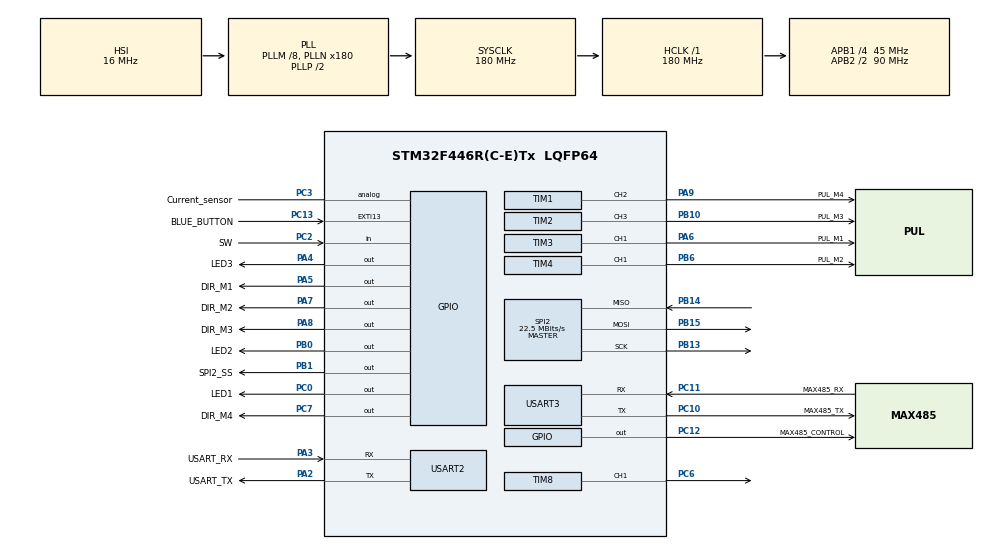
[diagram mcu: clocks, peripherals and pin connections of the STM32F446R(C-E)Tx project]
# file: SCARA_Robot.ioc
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Mcu.Family=STM32F4
Mcu.Name=STM32F446R(C-E)Tx
Mcu.Package=LQFP64
NVIC.PriorityGroup=NVIC_PRIORITYGROUP_0
NVIC.TIM8_TRG_COM_TIM14_IRQn=true\:0\:0\:false\:false\:true\:true\:true
NVIC.USART2_IRQn=true\:0\:0\:false\:false\:true\:true\:true
PA13.GPIO_Label=TMS
PA13.Mode=Serial_Wire
PA13.Signal=SYS_JTMS-SWDIO
PA14.GPIO_Label=TCK
PA14.Mode=Serial_Wire
PA14.Signal=SYS_JTCK-SWCLK
PA2.GPIO_Label=USART_TX
PA2.Mode=Asynchronous
PA2.Signal=USART2_TX
PA3.GPIO_Label=USART_RX
PA3.Mode=Asynchronous
PA3.Signal=USART2_RX
PA4.GPIO_Label=LED3
PA4.Signal=GPIO_Output
PA5.GPIO_Label=DIR_M1
PA5.Signal=GPIO_Output
PA6.GPIO_Label=PUL_M1
PA6.Signal=S_TIM3_CH1
PA7.GPIO_Label=DIR_M2
PA7.Signal=GPIO_Output
PA8.GPIO_Label=DIR_M3
PA8.Signal=GPIO_Output
PA9.GPIO_Label=PUL_M4
PA9.Signal=S_TIM1_CH2
PB0.GPIO_Label=LED2
PB0.Signal=GPIO_Output
PB1.GPIO_Label=SPI2_SS
PB1.Signal=GPIO_Output
PB10.GPIO_Label=PUL_M3
PB10.Signal=S_TIM2_CH3
PB13.Mode=Full_Duplex_Master
PB13.Signal=SPI2_SCK
PB14.Mode=Full_Duplex_Master
PB14.Signal=SPI2_MISO
PB15.Mode=Full_Duplex_Master
PB15.Signal=SPI2_MOSI
PB6.GPIO_Label=PUL_M2
PB6.Signal=S_TIM4_CH1
PC0.GPIO_Label=LED1
PC0.Signal=GPIO_Output
PC10.GPIO_Label=MAX485_TX
PC10.Mode=Asynchronous
PC10.Signal=USART3_TX
PC11.GPIO_Label=MAX485_RX
PC11.Mode=Asynchronous
PC11.Signal=USART3_RX
PC12.GPIO_Label=MAX485_CONTROL
PC12.Signal=GPIO_Output
PC13.GPIO_Label=BLUE_BUTTON
PC13.GPIO_ModeDefaultEXTI=GPIO_MODE_IT_FALLING
PC13.Signal=GPXTI13
PC14-OSC32_IN.Mode=LSE-External-Oscillator
PC14-OSC32_IN.Signal=RCC_OSC32_IN
PC15-OSC32_OUT.Mode=LSE-External-Oscillator
PC15-OSC32_OUT.Signal=RCC_OSC32_OUT
PC2.GPIO_Label=SW
PC2.Signal=GPIO_Input
PC3.GPIO_Label=Current_sensor
PC3.Signal=GPIO_Analog
PC6.Signal=S_TIM8_CH1
PC7.GPIO_Label=DIR_M4
PC7.Signal=GPIO_Output
PH0-OSC_IN.Mode=HSE-External-Oscillator
PH0-OSC_IN.Signal=RCC_OSC_IN
PH1-OSC_OUT.Mode=HSE-External-Oscillator
PH1-OSC_OUT.Signal=RCC_OSC_OUT
ProjectManager.HeapSize=0x200
ProjectManager.StackSize=0x400
ProjectManager.TargetToolchain=STM32CubeIDE
RCC.48MHZClocksFreq_Value=84000000
RCC.AHBFreq_Value=180000000
RCC.APB1CLKDivider=RCC_HCLK_DIV4
RCC.APB1Freq_Value=45000000
RCC.APB1TimFreq_Value=90000000
RCC.APB2CLKDivider=RCC_HCLK_DIV2
RCC.APB2Freq_Value=90000000
RCC.APB2TimFreq_Value=180000000
RCC.CortexFreq_Value=180000000
RCC.FLatency-AdvancedSettings=FLASH_LATENCY_5
RCC.HCLKFreq_Value=180000000
RCC.HSE_VALUE=8000000
RCC.HSI_VALUE=16000000
RCC.PLLM=8
RCC.PLLN=180
RCC.SYSCLKFreq_VALUE=180000000
RCC.SYSCLKSource=RCC_SYSCLKSOURCE_PLLCLK
RCC.USBFreq_Value=180000000
RCC.VCOOutputFreq_Value=360000000
SH.S_TIM1_CH2.0=TIM1_CH2,PWM Generation2 CH2
SH.S_TIM2_CH3.0=TIM2_CH3,PWM Generation3 CH3
SH.S_TIM3_CH1.0=TIM3_CH1,PWM Generation1 CH1
SH.S_TIM4_CH1.0=TIM4_CH1,PWM Generation1 CH1
SH.S_TIM8_CH1.0=TIM8_CH1,PWM Generation1 CH1
SPI2.CalculateBaudRate=22.5 MBits/s
SPI2.Direction=SPI_DIRECTION_2LINES
SPI2.Mode=SPI_MODE_MASTER
SPI2.VirtualType=VM_MASTER
TIM1.AutoReloadPreload=TIM_AUTORELOAD_PRELOAD_ENABLE
TIM1.Channel-PWM\ Generation2\ CH2=TIM_CHANNEL_2
TIM1.Period=100-1
TIM1.Prescaler=2999
TIM1.Pulse-PWM\ Generation2\ CH2=50
TIM14.Period=10000-1
TIM14.Prescaler=180-1
TIM2.AutoReloadPreload=TIM_AUTORELOAD_PRELOAD_ENABLE
TIM2.Channel-PWM\ Generation3\ CH3=TIM_CHANNEL_3
TIM2.Period=119
TIM2.Prescaler=1499
TIM2.Pulse-PWM\ Generation3\ CH3=60
TIM3.AutoReloadPreload=TIM_AUTORELOAD_PRELOAD_ENABLE
TIM3.Channel-PWM\ Generation1\ CH1=TIM_CHANNEL_1
TIM3.Period=100-1
TIM3.Prescaler=1499
TIM3.Pulse-PWM\ Generation1\ CH1=50
TIM4.AutoReloadPreload=TIM_AUTORELOAD_PRELOAD_ENABLE
TIM4.Channel-PWM\ Generation1\ CH1=TIM_CHANNEL_1
TIM4.Period=100-1
TIM4.Prescaler=1499
TIM4.Pulse-PWM\ Generation1\ CH1=50
TIM8.Channel-PWM\ Generation1\ CH1=TIM_CHANNEL_1
TIM8.Period=100-1
TIM8.Prescaler=18000-1
TIM8.Pulse-PWM\ Generation1\ CH1=50
USART2.VirtualMode=VM_ASYNC
USART3.VirtualMode=VM_ASYNC
VP_TIM14_VS_ClockSourceINT.Mode=Enable_Timer
VP_TIM1_VS_ClockSourceINT.Mode=Internal
VP_TIM2_VS_ClockSourceINT.Mode=Internal
VP_TIM3_VS_ClockSourceINT.Mode=Internal
VP_TIM4_VS_ClockSourceINT.Mode=Internal
board=NUCLEO-F446RE

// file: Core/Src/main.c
/* USER CODE BEGIN Header */
/**
  ******************************************************************************
  * @file           : main.c
  * @brief          : Main program body
  ******************************************************************************
  * @attention
  *
  * <h2><center>&copy; Copyright (c) 2021 STMicroelectronics.
  * All rights reserved.</center></h2>
  *
  * This software component is licensed by ST under BSD 3-Clause license,
  * the "License"; You may not use this file except in compliance with the
  * License. You may obtain a copy of the License at:
  *                        opensource.org/licenses/BSD-3-Clause
  *
  ******************************************************************************
  */
/* USER CODE END Header */
#include "main.h"

/* USER CODE BEGIN Includes */
#include <stdio.h>
/* USER CODE END Includes */

SPI_HandleTypeDef hspi2;

TIM_HandleTypeDef htim1;
TIM_HandleTypeDef htim2;
TIM_HandleTypeDef htim3;
TIM_HandleTypeDef htim4;
TIM_HandleTypeDef htim8;
TIM_HandleTypeDef htim14;

UART_HandleTypeDef huart2;
UART_HandleTypeDef huart3;

void SystemClock_Config(void);
static void MX_GPIO_Init(void);
static void MX_USART2_UART_Init(void);
static void MX_TIM1_Init(void);
static void MX_TIM2_Init(void);
static void MX_TIM3_Init(void);
static void MX_TIM4_Init(void);
static void MX_SPI2_Init(void);
static void MX_USART3_UART_Init(void);
static void MX_TIM8_Init(void);
static void MX_TIM14_Init(void);
/* USER CODE BEGIN PFP */
long map(long x, long fromLow, long fromHigh, long toLow, long toHigh);
void Motor1_On(char Direction, char speed);
void Motor2_On(char Direction, char speed);
void Motor3_On(char Direction, char speed);
void Motor4_On(char Direction, char speed);
void Motor1_Off();
void Motor2_Off();
void Motor3_Off();
void Motor4_Off();
void Motor1_SetPWM(uint16_t speed);
void Motor2_SetPWM(uint16_t speed);
void Motor3_SetPWM(uint16_t speed);
void Motor4_SetPWM(uint16_t speed);
//serial protocol function
void CheckSum(uint8_t sum);
void clear_buffer(void);
void package_state(void);

void test_aon() {
	if (HAL_GPIO_ReadPin(BLUE_BUTTON_GPIO_Port, BLUE_BUTTON_Pin) == 0) {
		Motor2_On(1, 90);
	}
	else {
		Motor2_Off();
	}
}

/* USER CODE END PFP */

/* USER CODE BEGIN 0 */
//serial gobol variable
uint8_t TX_Buffer[] = {0xFF};//"Hello World!\r\n";
uint8_t RX_Buffer[7]= {0};
uint8_t package[7];
uint8_t state;
uint8_t state_check;
uint8_t checksum[2];
uint8_t acknowledge[5] = {0xFF, 0x01, 0x01, 0x66, 0x65};

void HAL_UART_RxCpltCallback(UART_HandleTypeDef *huart)
{
//	HAL_UART_Receive(&huart2, RX_Buffer, 7,100);
	memcpy(package,RX_Buffer,7);
//	for (int i = 0; i<sizeof (package); i++) {
//		package[i] = RX_Buffer[i];
//		//printf("package[%d] : %d\n", i, package[i]);
//	}
	package_state();
//	for (int i = 0; i<sizeof (RX_Buffer); i++) {
//		RX_Buffer[i] = 0;
//	}
	HAL_UART_Receive_IT(&huart2, RX_Buffer, 7);
}
void HAL_TIM_PeriodElapsedCallback(TIM_HandleTypeDef *htim)
{
  // Check which version of the timer triggered this callback and toggle LED
  if (htim == &htim14 )
  {
	  //state_check > 1
	  	      if (state_check == 1) {
	  	      	switch (package[4]) {
	  	      		case 0x72 :{
	  	      			Motor1_SetPWM(50);
	  	      			Motor1_On(1, 30);
	  	      			break;
	  	      		}
	  	      		case 0x66 :{
	  	      			Motor1_SetPWM(50);
	  	      			Motor1_On(0, 30);
	  	  				break;
	  	  			}
	  	      		case 0x74 :{
	  	      			Motor2_SetPWM(500);
	  	      			Motor2_On(1, 150);
	  	  				break;
	  	  			}
	  	      		case 0x67 :{
	  	      			Motor2_SetPWM(500);
	  	      			Motor2_On(0, 100);
	  	  				break;
	  	  			}
	  	      		case 0x79 :{
	  	      			Motor3_SetPWM(100);
	  	      			Motor3_On(1, 50);
	  	  				break;
	  	  			}
	  	      		case 0x41 :{
	  	      			Motor3_SetPWM(100);
	  	      			Motor3_On(0, 50);
	  	  				break;
	  	  			}
	  	  			case 0x75 :{
	  	  				Motor4_SetPWM(200);
	  	  				Motor4_On(1, 50);
	  	  				break;
	  	  			}
	  	  			case 0x6a :{
	  	  				Motor4_SetPWM(200);
	  	  				Motor4_On(0, 50);
	  	  				break;
	  	  			}
	  	  			case 0x7a :{
	  	  				Motor1_Off();
						Motor2_Off();
						Motor3_Off();
						Motor4_Off();
						break;
	  	  			}
	  	  			default:{
	  	  				//err();
//	  	  				clear_buffer();
	  	  				Motor1_Off();
	  	  				Motor2_Off();
	  	  				Motor3_Off();
	  	  				Motor4_Off();
	  	  			}
	  	      	}
//	  	      	clear_buffer();
	  //	      	Motor1_Off();
	  //	      	Motor2_Off();
	  //	      	Motor3_Off();
	  //	      	Motor4_Off();
	  	  //    } else if (state_check == 2) { case
	  	  //
	  	  //    } else if (state_check == 3) { case
	  	  //
	  	      }
	  	      state_check = 0;
//	  	    	for (int i = 0; i<sizeof (RX_Buffer); i++) {
//	  	    		RX_Buffer[i] = 0;
//	  	    	}
//	  	      Motor1_Off();
//	  		Motor2_Off();
//	  		Motor3_Off();
//	  		Motor4_Off();

  }
}

/* USER CODE END 0 */

int main(void)
{

  /* MCU Configuration--------------------------------------------------------*/

  /* Reset of all peripherals, Initializes the Flash interface and the Systick. */
  HAL_Init();

  /* Configure the system clock */
  SystemClock_Config();

  /* Initialize all configured peripherals */
  MX_GPIO_Init();
  MX_USART2_UART_Init();
  MX_TIM1_Init();
  MX_TIM2_Init();
  MX_TIM3_Init();
  MX_TIM4_Init();
  MX_SPI2_Init();
  MX_USART3_UART_Init();
  MX_TIM8_Init();
  MX_TIM14_Init();
  /* USER CODE BEGIN 2 */

//  HAL_TIM_PWM_Start(&htim8, TIM_CHANNEL_1);
  /* USER CODE END 2 */

  /* Infinite loop */
  /* USER CODE BEGIN WHILE */

//  HAL_TIM_PWM_Start(&htim3, TIM_CHANNEL_1); //M1
//  HAL_TIM_PWM_Start(&htim4, TIM_CHANNEL_1); //M2
//  HAL_TIM_PWM_Start(&htim2, TIM_CHANNEL_3); //M3
//  HAL_TIM_PWM_Start(&htim1, TIM_CHANNEL_2); //M4

//  while (HAL_GPIO_ReadPin(BLUE_BUTTON_GPIO_Port, BLUE_BUTTON_Pin) == 1);
//  Motor1_SetPWM(180);
//  Motor2_SetPWM(1000);
//  Motor3_SetPWM(250);
//  Motor4_SetPWM(500);

  HAL_TIM_PWM_Start(&htim3, TIM_CHANNEL_1); //M1
  HAL_TIM_PWM_Start(&htim4, TIM_CHANNEL_1); //M2
  HAL_TIM_PWM_Start(&htim2, TIM_CHANNEL_3); //M3
  HAL_TIM_PWM_Start(&htim1, TIM_CHANNEL_2); //M4
  HAL_TIM_Base_Start_IT(&htim14);

  Motor1_Off();
  Motor2_Off();
  Motor3_Off();
  Motor4_Off();

  HAL_UART_Receive_IT(&huart2, RX_Buffer, 7);
  while (1)
  {

//	  for (int i = 0; i<sizeof (RX_Buffer); i++) {
//		  RX_Buffer[i] = 0;
//	  }
//	  HAL_UART_Receive(&huart2, RX_Buffer, 7,100);

//	  for (int i = 0; i<sizeof (package); i++) {
//		  package[i] = RX_Buffer[i];
//			  //printf("package[%d] : %d\n", i, package[i]);
//	  }
//	  package_state();
//	  if (HAL_GPIO_ReadPin(BLUE_BUTTON_GPIO_Port, BLUE_BUTTON_Pin) == 0) {
//	  		Motor2_On(0, 90);
//	  	}
//	  	else {
//	  		Motor2_Off();
//	  	}
//	  test_aon();
	  /*Motor3_SetPWM(300);

	  Motor3_On(1, 1);
	  HAL_Delay(1000);

	  Motor3_Off();
	  HAL_Delay(500);

	  Motor3_SetPWM(300);

	  Motor3_On(0, 1);
	  HAL_Delay(1000);
	  Motor3_Off();
	  HAL_Delay(500);*/
    /* USER CODE END WHILE */

  }
}

void SystemClock_Config(void)
{
  RCC_OscInitTypeDef RCC_OscInitStruct = {0};
  RCC_ClkInitTypeDef RCC_ClkInitStruct = {0};

  /** Configure the main internal regulator output voltage
  */
  __HAL_RCC_PWR_CLK_ENABLE();
  __HAL_PWR_VOLTAGESCALING_CONFIG(PWR_REGULATOR_VOLTAGE_SCALE1);
  /** Initializes the RCC Oscillators according to the specified parameters
  * in the RCC_OscInitTypeDef structure.
  */
  RCC_OscInitStruct.OscillatorType = RCC_OSCILLATORTYPE_HSI;
  RCC_OscInitStruct.HSIState = RCC_HSI_ON;
  RCC_OscInitStruct.HSICalibrationValue = RCC_HSICALIBRATION_DEFAULT;
  RCC_OscInitStruct.PLL.PLLState = RCC_PLL_ON;
  RCC_OscInitStruct.PLL.PLLSource = RCC_PLLSOURCE_HSI;
  RCC_OscInitStruct.PLL.PLLM = 8;
  RCC_OscInitStruct.PLL.PLLN = 180;
  RCC_OscInitStruct.PLL.PLLP = RCC_PLLP_DIV2;
  RCC_OscInitStruct.PLL.PLLQ = 2;
  RCC_OscInitStruct.PLL.PLLR = 2;
  if (HAL_RCC_OscConfig(&RCC_OscInitStruct) != HAL_OK)
  {
    Error_Handler();
  }
  /** Activate the Over-Drive mode
  */
  if (HAL_PWREx_EnableOverDrive() != HAL_OK)
  {
    Error_Handler();
  }
  /** Initializes the CPU, AHB and APB buses clocks
  */
  RCC_ClkInitStruct.ClockType = RCC_CLOCKTYPE_HCLK|RCC_CLOCKTYPE_SYSCLK
                              |RCC_CLOCKTYPE_PCLK1|RCC_CLOCKTYPE_PCLK2;
  RCC_ClkInitStruct.SYSCLKSource = RCC_SYSCLKSOURCE_PLLCLK;
  RCC_ClkInitStruct.AHBCLKDivider = RCC_SYSCLK_DIV1;
  RCC_ClkInitStruct.APB1CLKDivider = RCC_HCLK_DIV4;
  RCC_ClkInitStruct.APB2CLKDivider = RCC_HCLK_DIV2;

  if (HAL_RCC_ClockConfig(&RCC_ClkInitStruct, FLASH_LATENCY_5) != HAL_OK)
  {
    Error_Handler();
  }
}

static void MX_SPI2_Init(void)
{

  /* SPI2 parameter configuration*/
  hspi2.Instance = SPI2;
  hspi2.Init.Mode = SPI_MODE_MASTER;
  hspi2.Init.Direction = SPI_DIRECTION_2LINES;
  hspi2.Init.DataSize = SPI_DATASIZE_8BIT;
  hspi2.Init.CLKPolarity = SPI_POLARITY_LOW;
  hspi2.Init.CLKPhase = SPI_PHASE_1EDGE;
  hspi2.Init.NSS = SPI_NSS_SOFT;
  hspi2.Init.BaudRatePrescaler = SPI_BAUDRATEPRESCALER_2;
  hspi2.Init.FirstBit = SPI_FIRSTBIT_MSB;
  hspi2.Init.TIMode = SPI_TIMODE_DISABLE;
  hspi2.Init.CRCCalculation = SPI_CRCCALCULATION_DISABLE;
  hspi2.Init.CRCPolynomial = 10;
  if (HAL_SPI_Init(&hspi2) != HAL_OK)
  {
    Error_Handler();
  }

}

static void MX_TIM1_Init(void)
{

  TIM_ClockConfigTypeDef sClockSourceConfig = {0};
  TIM_MasterConfigTypeDef sMasterConfig = {0};
  TIM_OC_InitTypeDef sConfigOC = {0};
  TIM_BreakDeadTimeConfigTypeDef sBreakDeadTimeConfig = {0};

  htim1.Instance = TIM1;
  htim1.Init.Prescaler = 2999;
  htim1.Init.CounterMode = TIM_COUNTERMODE_UP;
  htim1.Init.Period = 100-1;
  htim1.Init.ClockDivision = TIM_CLOCKDIVISION_DIV1;
  htim1.Init.RepetitionCounter = 0;
  htim1.Init.AutoReloadPreload = TIM_AUTORELOAD_PRELOAD_ENABLE;
  if (HAL_TIM_Base_Init(&htim1) != HAL_OK)
  {
    Error_Handler();
  }
  sClockSourceConfig.ClockSource = TIM_CLOCKSOURCE_INTERNAL;
  if (HAL_TIM_ConfigClockSource(&htim1, &sClockSourceConfig) != HAL_OK)
  {
    Error_Handler();
  }
  if (HAL_TIM_PWM_Init(&htim1) != HAL_OK)
  {
    Error_Handler();
  }
  sMasterConfig.MasterOutputTrigger = TIM_TRGO_RESET;
  sMasterConfig.MasterSlaveMode = TIM_MASTERSLAVEMODE_DISABLE;
  if (HAL_TIMEx_MasterConfigSynchronization(&htim1, &sMasterConfig) != HAL_OK)
  {
    Error_Handler();
  }
  sConfigOC.OCMode = TIM_OCMODE_PWM1;
  sConfigOC.Pulse = 50;
  sConfigOC.OCPolarity = TIM_OCPOLARITY_HIGH;
  sConfigOC.OCNPolarity = TIM_OCNPOLARITY_HIGH;
  sConfigOC.OCFastMode = TIM_OCFAST_DISABLE;
  sConfigOC.OCIdleState = TIM_OCIDLESTATE_RESET;
  sConfigOC.OCNIdleState = TIM_OCNIDLESTATE_RESET;
  if (HAL_TIM_PWM_ConfigChannel(&htim1, &sConfigOC, TIM_CHANNEL_2) != HAL_OK)
  {
    Error_Handler();
  }
  sBreakDeadTimeConfig.OffStateRunMode = TIM_OSSR_DISABLE;
  sBreakDeadTimeConfig.OffStateIDLEMode = TIM_OSSI_DISABLE;
  sBreakDeadTimeConfig.LockLevel = TIM_LOCKLEVEL_OFF;
  sBreakDeadTimeConfig.DeadTime = 0;
  sBreakDeadTimeConfig.BreakState = TIM_BREAK_DISABLE;
  sBreakDeadTimeConfig.BreakPolarity = TIM_BREAKPOLARITY_HIGH;
  sBreakDeadTimeConfig.AutomaticOutput = TIM_AUTOMATICOUTPUT_DISABLE;
  if (HAL_TIMEx_ConfigBreakDeadTime(&htim1, &sBreakDeadTimeConfig) != HAL_OK)
  {
    Error_Handler();
  }
  HAL_TIM_MspPostInit(&htim1);

}

static void MX_TIM2_Init(void)
{

  TIM_ClockConfigTypeDef sClockSourceConfig = {0};
  TIM_MasterConfigTypeDef sMasterConfig = {0};
  TIM_OC_InitTypeDef sConfigOC = {0};

  htim2.Instance = TIM2;
  htim2.Init.Prescaler = 1499;
  htim2.Init.CounterMode = TIM_COUNTERMODE_UP;
  htim2.Init.Period = 119;
  htim2.Init.ClockDivision = TIM_CLOCKDIVISION_DIV1;
  htim2.Init.AutoReloadPreload = TIM_AUTORELOAD_PRELOAD_ENABLE;
  if (HAL_TIM_Base_Init(&htim2) != HAL_OK)
  {
    Error_Handler();
  }
  sClockSourceConfig.ClockSource = TIM_CLOCKSOURCE_INTERNAL;
  if (HAL_TIM_ConfigClockSource(&htim2, &sClockSourceConfig) != HAL_OK)
  {
    Error_Handler();
  }
  if (HAL_TIM_PWM_Init(&htim2) != HAL_OK)
  {
    Error_Handler();
  }
  sMasterConfig.MasterOutputTrigger = TIM_TRGO_RESET;
  sMasterConfig.MasterSlaveMode = TIM_MASTERSLAVEMODE_DISABLE;
  if (HAL_TIMEx_MasterConfigSynchronization(&htim2, &sMasterConfig) != HAL_OK)
  {
    Error_Handler();
  }
  sConfigOC.OCMode = TIM_OCMODE_PWM1;
  sConfigOC.Pulse = 60;
  sConfigOC.OCPolarity = TIM_OCPOLARITY_HIGH;
  sConfigOC.OCFastMode = TIM_OCFAST_DISABLE;
  if (HAL_TIM_PWM_ConfigChannel(&htim2, &sConfigOC, TIM_CHANNEL_3) != HAL_OK)
  {
    Error_Handler();
  }
  HAL_TIM_MspPostInit(&htim2);

}

static void MX_TIM3_Init(void)
{

  TIM_ClockConfigTypeDef sClockSourceConfig = {0};
  TIM_MasterConfigTypeDef sMasterConfig = {0};
  TIM_OC_InitTypeDef sConfigOC = {0};

  htim3.Instance = TIM3;
  htim3.Init.Prescaler = 1499;
  htim3.Init.CounterMode = TIM_COUNTERMODE_UP;
  htim3.Init.Period = 100-1;
  htim3.Init.ClockDivision = TIM_CLOCKDIVISION_DIV1;
  htim3.Init.AutoReloadPreload = TIM_AUTORELOAD_PRELOAD_ENABLE;
  if (HAL_TIM_Base_Init(&htim3) != HAL_OK)
  {
    Error_Handler();
  }
  sClockSourceConfig.ClockSource = TIM_CLOCKSOURCE_INTERNAL;
  if (HAL_TIM_ConfigClockSource(&htim3, &sClockSourceConfig) != HAL_OK)
  {
    Error_Handler();
  }
  if (HAL_TIM_PWM_Init(&htim3) != HAL_OK)
  {
    Error_Handler();
  }
  sMasterConfig.MasterOutputTrigger = TIM_TRGO_RESET;
  sMasterConfig.MasterSlaveMode = TIM_MASTERSLAVEMODE_DISABLE;
  if (HAL_TIMEx_MasterConfigSynchronization(&htim3, &sMasterConfig) != HAL_OK)
  {
    Error_Handler();
  }
  sConfigOC.OCMode = TIM_OCMODE_PWM1;
  sConfigOC.Pulse = 50;
  sConfigOC.OCPolarity = TIM_OCPOLARITY_HIGH;
  sConfigOC.OCFastMode = TIM_OCFAST_DISABLE;
  if (HAL_TIM_PWM_ConfigChannel(&htim3, &sConfigOC, TIM_CHANNEL_1) != HAL_OK)
  {
    Error_Handler();
  }
  HAL_TIM_MspPostInit(&htim3);

}

static void MX_TIM4_Init(void)
{

  TIM_ClockConfigTypeDef sClockSourceConfig = {0};
  TIM_MasterConfigTypeDef sMasterConfig = {0};
  TIM_OC_InitTypeDef sConfigOC = {0};

  htim4.Instance = TIM4;
  htim4.Init.Prescaler = 1499;
  htim4.Init.CounterMode = TIM_COUNTERMODE_UP;
  htim4.Init.Period = 100-1;
  htim4.Init.ClockDivision = TIM_CLOCKDIVISION_DIV1;
  htim4.Init.AutoReloadPreload = TIM_AUTORELOAD_PRELOAD_ENABLE;
  if (HAL_TIM_Base_Init(&htim4) != HAL_OK)
  {
    Error_Handler();
  }
  sClockSourceConfig.ClockSource = TIM_CLOCKSOURCE_INTERNAL;
  if (HAL_TIM_ConfigClockSource(&htim4, &sClockSourceConfig) != HAL_OK)
  {
    Error_Handler();
  }
  if (HAL_TIM_PWM_Init(&htim4) != HAL_OK)
  {
    Error_Handler();
  }
  sMasterConfig.MasterOutputTrigger = TIM_TRGO_RESET;
  sMasterConfig.MasterSlaveMode = TIM_MASTERSLAVEMODE_DISABLE;
  if (HAL_TIMEx_MasterConfigSynchronization(&htim4, &sMasterConfig) != HAL_OK)
  {
    Error_Handler();
  }
  sConfigOC.OCMode = TIM_OCMODE_PWM1;
  sConfigOC.Pulse = 50;
  sConfigOC.OCPolarity = TIM_OCPOLARITY_HIGH;
  sConfigOC.OCFastMode = TIM_OCFAST_DISABLE;
  if (HAL_TIM_PWM_ConfigChannel(&htim4, &sConfigOC, TIM_CHANNEL_1) != HAL_OK)
  {
    Error_Handler();
  }
  HAL_TIM_MspPostInit(&htim4);

}

static void MX_TIM8_Init(void)
{

  TIM_MasterConfigTypeDef sMasterConfig = {0};
  TIM_OC_InitTypeDef sConfigOC = {0};
  TIM_BreakDeadTimeConfigTypeDef sBreakDeadTimeConfig = {0};

  htim8.Instance = TIM8;
  htim8.Init.Prescaler = 18000-1;
  htim8.Init.CounterMode = TIM_COUNTERMODE_UP;
  htim8.Init.Period = 100-1;
  htim8.Init.ClockDivision = TIM_CLOCKDIVISION_DIV1;
  htim8.Init.RepetitionCounter = 0;
  htim8.Init.AutoReloadPreload = TIM_AUTORELOAD_PRELOAD_DISABLE;
  if (HAL_TIM_PWM_Init(&htim8) != HAL_OK)
  {
    Error_Handler();
  }
  sMasterConfig.MasterOutputTrigger = TIM_TRGO_RESET;
  sMasterConfig.MasterSlaveMode = TIM_MASTERSLAVEMODE_DISABLE;
  if (HAL_TIMEx_MasterConfigSynchronization(&htim8, &sMasterConfig) != HAL_OK)
  {
    Error_Handler();
  }
  sConfigOC.OCMode = TIM_OCMODE_PWM1;
  sConfigOC.Pulse = 50;
  sConfigOC.OCPolarity = TIM_OCPOLARITY_HIGH;
  sConfigOC.OCNPolarity = TIM_OCNPOLARITY_HIGH;
  sConfigOC.OCFastMode = TIM_OCFAST_DISABLE;
  sConfigOC.OCIdleState = TIM_OCIDLESTATE_RESET;
  sConfigOC.OCNIdleState = TIM_OCNIDLESTATE_RESET;
  if (HAL_TIM_PWM_ConfigChannel(&htim8, &sConfigOC, TIM_CHANNEL_1) != HAL_OK)
  {
    Error_Handler();
  }
  sBreakDeadTimeConfig.OffStateRunMode = TIM_OSSR_DISABLE;
  sBreakDeadTimeConfig.OffStateIDLEMode = TIM_OSSI_DISABLE;
  sBreakDeadTimeConfig.LockLevel = TIM_LOCKLEVEL_OFF;
  sBreakDeadTimeConfig.DeadTime = 0;
  sBreakDeadTimeConfig.BreakState = TIM_BREAK_DISABLE;
  sBreakDeadTimeConfig.BreakPolarity = TIM_BREAKPOLARITY_HIGH;
  sBreakDeadTimeConfig.AutomaticOutput = TIM_AUTOMATICOUTPUT_DISABLE;
  if (HAL_TIMEx_ConfigBreakDeadTime(&htim8, &sBreakDeadTimeConfig) != HAL_OK)
  {
    Error_Handler();
  }
  HAL_TIM_MspPostInit(&htim8);

}

static void MX_TIM14_Init(void)
{

  htim14.Instance = TIM14;
  htim14.Init.Prescaler = 180-1;
  htim14.Init.CounterMode = TIM_COUNTERMODE_UP;
  htim14.Init.Period = 10000-1;
  htim14.Init.ClockDivision = TIM_CLOCKDIVISION_DIV1;
  htim14.Init.AutoReloadPreload = TIM_AUTORELOAD_PRELOAD_DISABLE;
  if (HAL_TIM_Base_Init(&htim14) != HAL_OK)
  {
    Error_Handler();
  }

}

static void MX_USART2_UART_Init(void)
{

  huart2.Instance = USART2;
  huart2.Init.BaudRate = 115200;
  huart2.Init.WordLength = UART_WORDLENGTH_8B;
  huart2.Init.StopBits = UART_STOPBITS_1;
  huart2.Init.Parity = UART_PARITY_NONE;
  huart2.Init.Mode = UART_MODE_TX_RX;
  huart2.Init.HwFlowCtl = UART_HWCONTROL_NONE;
  huart2.Init.OverSampling = UART_OVERSAMPLING_16;
  if (HAL_UART_Init(&huart2) != HAL_OK)
  {
    Error_Handler();
  }

}

static void MX_USART3_UART_Init(void)
{

  huart3.Instance = USART3;
  huart3.Init.BaudRate = 115200;
  huart3.Init.WordLength = UART_WORDLENGTH_8B;
  huart3.Init.StopBits = UART_STOPBITS_1;
  huart3.Init.Parity = UART_PARITY_NONE;
  huart3.Init.Mode = UART_MODE_TX_RX;
  huart3.Init.HwFlowCtl = UART_HWCONTROL_NONE;
  huart3.Init.OverSampling = UART_OVERSAMPLING_16;
  if (HAL_UART_Init(&huart3) != HAL_OK)
  {
    Error_Handler();
  }

}

static void MX_GPIO_Init(void)
{
  GPIO_InitTypeDef GPIO_InitStruct = {0};

  /* GPIO Ports Clock Enable */
  __HAL_RCC_GPIOC_CLK_ENABLE();
  __HAL_RCC_GPIOH_CLK_ENABLE();
  __HAL_RCC_GPIOA_CLK_ENABLE();
  __HAL_RCC_GPIOB_CLK_ENABLE();

  /*Configure GPIO pin Output Level */
  HAL_GPIO_WritePin(GPIOC, LED1_Pin|DIR_M4_Pin|MAX485_CONTROL_Pin, GPIO_PIN_RESET);

  /*Configure GPIO pin Output Level */
  HAL_GPIO_WritePin(GPIOA, LED3_Pin|DIR_M1_Pin|DIR_M2_Pin|DIR_M3_Pin, GPIO_PIN_RESET);

  /*Configure GPIO pin Output Level */
  HAL_GPIO_WritePin(GPIOB, LED2_Pin|SPI2_SS_Pin, GPIO_PIN_RESET);

  /*Configure GPIO pin : BLUE_BUTTON_Pin */
  GPIO_InitStruct.Pin = BLUE_BUTTON_Pin;
  GPIO_InitStruct.Mode = GPIO_MODE_IT_FALLING;
  GPIO_InitStruct.Pull = GPIO_NOPULL;
  HAL_GPIO_Init(BLUE_BUTTON_GPIO_Port, &GPIO_InitStruct);

  /*Configure GPIO pins : LED1_Pin DIR_M4_Pin MAX485_CONTROL_Pin */
  GPIO_InitStruct.Pin = LED1_Pin|DIR_M4_Pin|MAX485_CONTROL_Pin;
  GPIO_InitStruct.Mode = GPIO_MODE_OUTPUT_PP;
  GPIO_InitStruct.Pull = GPIO_NOPULL;
  GPIO_InitStruct.Speed = GPIO_SPEED_FREQ_LOW;
  HAL_GPIO_Init(GPIOC, &GPIO_InitStruct);

  /*Configure GPIO pin : SW_Pin */
  GPIO_InitStruct.Pin = SW_Pin;
  GPIO_InitStruct.Mode = GPIO_MODE_INPUT;
  GPIO_InitStruct.Pull = GPIO_NOPULL;
  HAL_GPIO_Init(SW_GPIO_Port, &GPIO_InitStruct);

  /*Configure GPIO pin : Current_sensor_Pin */
  GPIO_InitStruct.Pin = Current_sensor_Pin;
  GPIO_InitStruct.Mode = GPIO_MODE_ANALOG;
  GPIO_InitStruct.Pull = GPIO_NOPULL;
  HAL_GPIO_Init(Current_sensor_GPIO_Port, &GPIO_InitStruct);

  /*Configure GPIO pins : LED3_Pin DIR_M1_Pin DIR_M2_Pin DIR_M3_Pin */
  GPIO_InitStruct.Pin = LED3_Pin|DIR_M1_Pin|DIR_M2_Pin|DIR_M3_Pin;
  GPIO_InitStruct.Mode = GPIO_MODE_OUTPUT_PP;
  GPIO_InitStruct.Pull = GPIO_NOPULL;
  GPIO_InitStruct.Speed = GPIO_SPEED_FREQ_LOW;
  HAL_GPIO_Init(GPIOA, &GPIO_InitStruct);

  /*Configure GPIO pins : LED2_Pin SPI2_SS_Pin */
  GPIO_InitStruct.Pin = LED2_Pin|SPI2_SS_Pin;
  GPIO_InitStruct.Mode = GPIO_MODE_OUTPUT_PP;
  GPIO_InitStruct.Pull = GPIO_NOPULL;
  GPIO_InitStruct.Speed = GPIO_SPEED_FREQ_LOW;
  HAL_GPIO_Init(GPIOB, &GPIO_InitStruct);

}

/* USER CODE BEGIN 4 */

long map(long x, long fromLow, long fromHigh, long toLow, long toHigh) {
  return ((x - fromLow) * (toHigh - toLow) / (fromHigh - fromLow) + toLow);
}

void Motor1_On(char Direction, char speed) {
	HAL_GPIO_WritePin(DIR_M1_GPIO_Port, DIR_M1_Pin, Direction);
}

void Motor2_On(char Direction, char speed) {
	HAL_GPIO_WritePin(DIR_M2_GPIO_Port, DIR_M2_Pin, Direction);
}

void Motor3_On(char Direction, char speed) {
	HAL_GPIO_WritePin(DIR_M3_GPIO_Port, DIR_M3_Pin, Direction);

}

void Motor4_On(char Direction, char speed) {
	HAL_GPIO_WritePin(DIR_M4_GPIO_Port, DIR_M4_Pin, Direction);
}

void Motor1_SetPWM (uint16_t speed) {
	TIM3->ARR = (60000 / speed) -1;
	TIM3->CCR1 = (TIM4->ARR+1)/2;
}

void Motor2_SetPWM (uint16_t speed) {
	TIM4->ARR = (60000 / speed) -1;
	TIM4->CCR1 = (TIM4->ARR+1)/2;
}

void Motor3_SetPWM (uint16_t speed) {
	TIM2->ARR = (60000 / speed) -1;
	TIM2->CCR3 = (TIM2->ARR+1)/2;
}

void Motor4_SetPWM (uint16_t speed) {
	TIM1->ARR = (60000 / speed) -1;
	TIM1->CCR2 = (TIM1->ARR+1)/2;
}

void Motor1_Off() {
	TIM3->CCR1 = 0;
}

void Motor2_Off() {
	TIM4->CCR1 = 0;
}

void Motor3_Off() {
	TIM2->CCR3 = 0;
}

void Motor4_Off() {
	TIM1->CCR2 = 0;
}

void CheckSum(uint8_t sum){
	char str[2];
	sum = ~sum;
	sum++;
	sprintf(str, "%x", sum);
	for (int i = 0; i<sizeof (checksum); i++) {
		checksum[i] = str[i];
	}
}

void clear_buffer(void) {
    int i;
//    for (int i = 0; i<sizeof (checksum); i++) {
//		checksum[i] = 0;
//	}
    for (i = 0; i<sizeof (package); i++) {
        package[i] = 0;
    }
}
void package_state(void) {
    int i;
    uint8_t sum=0;
    for (i = 1; i<sizeof (package) - 2; i++) {
        sum += package[i];
    }
    CheckSum(sum);
    if (package[0] == 0xFF) {
        if (package[5] == checksum[0] && package[6] == checksum[1]) {
            if (package[2] == 0x01) {
            	//jointjog
            	HAL_UART_Transmit(&huart2,acknowledge,sizeof(acknowledge),100);
                state_check = 1;
            } else if (package[1] == 0x02) {
                state_check = 2;
            } else if (package[1] == 0x03) {
                state_check = 3;
            } else {
                //err();
                clear_buffer();
            }
        } else {
            //err();
            clear_buffer();
        }
    } else {
        //err();
        clear_buffer();
    }
//    //state_check > 1
//    if (state_check == 1) {
//    	switch (package[4]) {
//    		case 0x72 :{
//    			Motor1_SetPWM(180);
//    			Motor1_On(1, 30);
////    			HAL_Delay(100);
//    			break;
//    		}
//    		case 0x66 :{
//    			Motor1_SetPWM(180);
//    			Motor1_On(0, 30);
////    			HAL_Delay(100);
//				break;
//			}
//    		case 0x74 :{
//    			Motor2_SetPWM(1000);
//    			Motor2_On(1, 100);
//				break;
//			}
//    		case 0x67 :{
//    			Motor2_SetPWM(1000);
//    			Motor2_On(0, 100);
//				break;
//			}
//    		case 0x79 :{
//    			Motor3_SetPWM(250);
//    			Motor3_On(1, 50);
//				break;
//			}
//    		case 0x41 :{
//    			Motor3_SetPWM(250);
//    			Motor3_On(0, 50);
//				break;
//			}
//			case 0x75 :{
//				Motor4_SetPWM(500);
//				Motor4_On(1, 50);
//				break;
//			}
//			case 0x6a :{
//				Motor4_SetPWM(500);
//				Motor4_On(0, 50);
//				break;
//			}
//			default:{
//				//err();
//				clear_buffer();
//				Motor1_Off();
//				Motor2_Off();
//				Motor3_Off();
//				Motor4_Off();
//			}
//    	}
//    	clear_buffer();
//    	Motor1_Off();
//    	Motor2_Off();
//    	Motor3_Off();
//    	Motor4_Off();
////    } else if (state_check == 2) { case
////
////    } else if (state_check == 3) { case
////
//    }
//    state_check = 0;
}
/* USER CODE END 4 */

void Error_Handler(void)
{
  __disable_irq();
  while (1)
  {
  }
}
